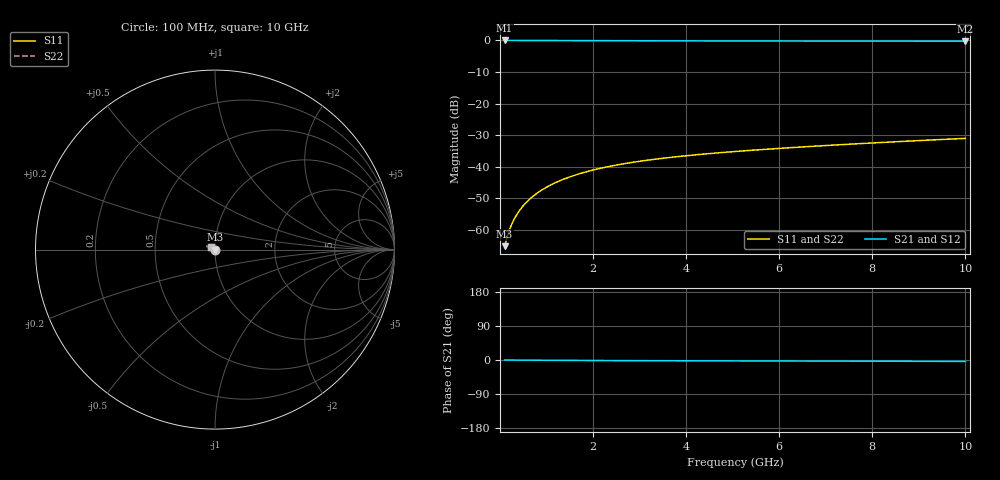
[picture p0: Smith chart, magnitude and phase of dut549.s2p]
! Touchstone file exported from HFSS 2024.1.0
!  File:  C:/UserFiles/LocalFiles/RDL_TSV_Batchsim/temp_TSV1_549_1779706190.aedt
!  Generated:  06:55:58 PM May 25, 2026
!  Design:  TSV1
!  Project:  temp_TSV1_549_1779706190
!  Setup:  Setup1
!  Solution:  Sweep
! Variables:
!  dtsv = 6.33um
!  hbump = 3um
!  htsv = 50.71um
!  lrdl = 252.1521522um
!  p = 40
!  p1 = 50.97um
!  t = 500um
!  trdl = 3um
!  wrdl = 24.89489489um
# GHz S MA R 50.000000
! Terminal data exported
! Port[1] = TSV22_T1
! Port[2] = TSV22_T2
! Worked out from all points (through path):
!   100 points, 100 MHz to 10 GHz, reference 50 ohm
!   highest |S21| = 0.00 dB at 100 MHz (marker M1); lowest = -0.2 dB at 10 GHz (marker M2)
!   lowest |S11| = -65.2 dB at 100 MHz (marker M3), VSWR 1.00, Z = 50 - j0.0485 ohm
!   |S11| at or under -10 dB: start of sweep to end of sweep
!   |S22| runs from -65.2 to -31.1 dB; largest |S21 - S12| = 4.1e-15
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0.1  0.0005466 -62.5  0.9997 -0.1  0.9997 -0.1  0.0005466 -62.5
! Gamma 0 0 0 0
! Port Impedance 50 0 50 0
0.2  0.0009863 -79.0  0.9996 -0.2  0.9996 -0.2  0.0009863 -79.0
0.3  0.00145 -86.7  0.9995 -0.2  0.9995 -0.2  0.00145 -86.7
0.4  0.00192 -91.8  0.9994 -0.3  0.9994 -0.3  0.00192 -91.8
0.5  0.002392 -95.8  0.9992 -0.4  0.9992 -0.4  0.002392 -95.8
0.6  0.002863 -99.2  0.9989 -0.4  0.9989 -0.4  0.002863 -99.2
0.7  0.003331 -102.2  0.9987 -0.5  0.9987 -0.5  0.003331 -102.2
0.8  0.003794 -105.1  0.9984 -0.6  0.9984 -0.6  0.003794 -105.1
0.9  0.004253 -107.7  0.9981 -0.7  0.9981 -0.7  0.004253 -107.7
1.1  0.00515 -112.8  0.9974 -0.8  0.9974 -0.8  0.00515 -112.8
1.4  0.006442 -119.8  0.9961 -1.0  0.9961 -1.0  0.006442 -119.8
1.6  0.007263 -124.2  0.9952 -1.1  0.9952 -1.1  0.007263 -124.2
1.8  0.008051 -128.4  0.9943 -1.2  0.9943 -1.2  0.008051 -128.4
2.1  0.00917 -134.5  0.9929 -1.4  0.9929 -1.4  0.00917 -134.5
2.5  0.01055 -142.0  0.9909 -1.5  0.9909 -1.5  0.01055 -142.0
2.9  0.01182 -149.0  0.989 -1.7  0.989 -1.7  0.01182 -149.0
3.4  0.01326 -156.9  0.9869 -1.9  0.9869 -1.9  0.01326 -156.9
4.2  0.01533 -168.1  0.9839 -2.1  0.9839 -2.1  0.01533 -168.1
5.1  0.01744 -178.8  0.9812 -2.4  0.9812 -2.4  0.01744 -178.8
6.7  0.02091 166.2  0.9778 -2.8  0.9778 -2.8  0.02091 166.2
8.4  0.02452 154.1  0.9755 -3.3  0.9755 -3.3  0.02452 154.1
10  0.02799 145.3  0.9739 -3.7  0.9739 -3.7  0.02799 145.3
